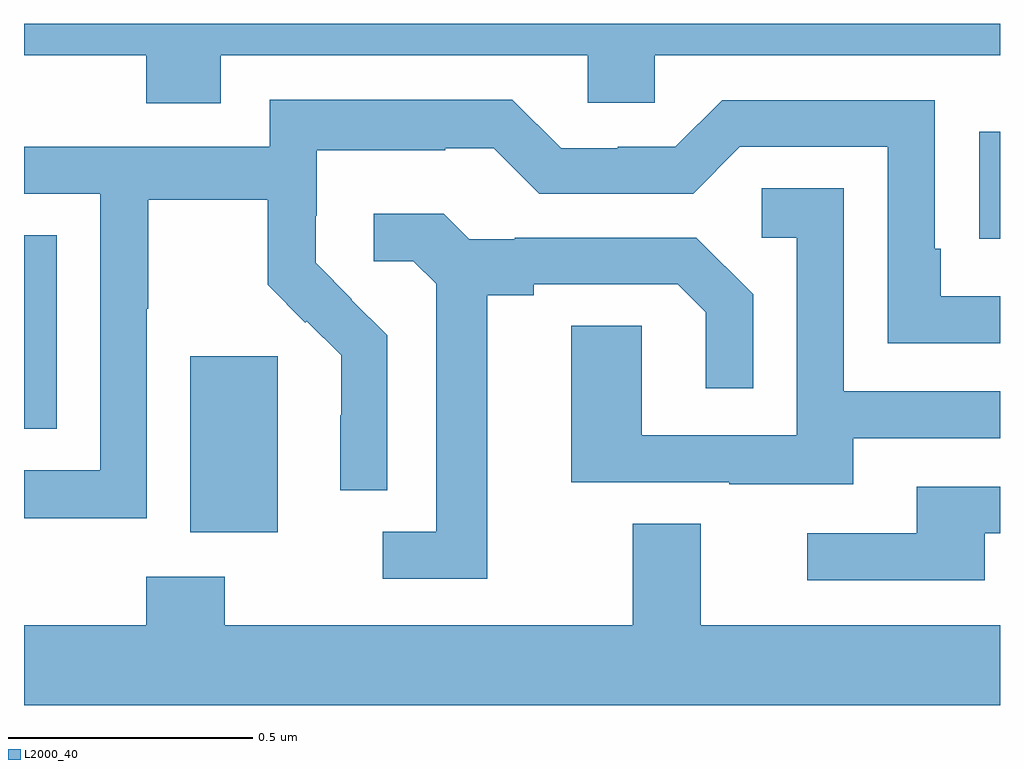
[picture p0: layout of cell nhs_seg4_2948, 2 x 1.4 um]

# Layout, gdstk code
import gdstk
lib = gdstk.Library(unit=1e-6, precision=1e-09)
def R(c, l, rs):  # rectangles x0, y0, x1, y1
    for r in rs: c.add(gdstk.rectangle(r[:2], r[2:], *l))
def P(c, l, *ps):  # polygons
    for p in ps: c.add(gdstk.Polygon(p, *l))
L2000_40 = (2000, 40)

nhs_seg4_2948 = lib.new_cell('nhs_seg4_2948')
R(nhs_seg4_2948, L2000_40, [(147.341,779.858,147.52,780.219), (147,780.07,147.067,780.467), (148.957,780.46,149,780.679)])
P(nhs_seg4_2948, L2000_40, [(147.403,780.836),(148.155,780.836),(148.155,780.738),(148.293,780.738),(148.293,780.836),(149,780.836),(149,780.9),(147,780.9),(147,780.836),(147.251,780.836),(147.251,780.737),(147.403,780.737)],
  [(147.252,780.316),(147.255,780.316),(147.255,780.54),(147.499,780.54),(147.499,780.365),(147.576,780.288),(147.579,780.291),(147.65,780.221),(147.65,780.098),(147.648,780.098),(147.648,779.944),(147.744,779.944),(147.744,780.262),(147.671,780.335),(147.672,780.336),(147.598,780.41),(147.598,780.507),(147.6,780.507),(147.6,780.641),(147.863,780.641),(147.863,780.645),(147.963,780.645),(148.056,780.552),(148.371,780.552),(148.467,780.648),(148.77,780.648),(148.77,780.246),(149,780.246),(149,780.342),(148.879,780.342),(148.879,780.439),(148.866,780.439),(148.866,780.744),(148.431,780.744),(148.335,780.648),(148.217,780.648),(148.217,780.645),(148.101,780.645),(148.001,780.745),(147.504,780.745),(147.504,780.648),(147,780.648),(147,780.552),(147.156,780.552),(147.156,779.985),(147,779.985),(147,779.887),(147.252,779.887)],
  [(148.699,780.051),(149,780.051),(149,780.147),(148.68,780.147),(148.68,780.563),(148.512,780.563),(148.512,780.462),(148.584,780.462),(148.584,780.057),(148.266,780.057),(148.266,780.281),(148.121,780.281),(148.121,779.961),(148.445,779.961),(148.445,779.957),(148.699,779.957)],
  [(147.949,780.344),(148.045,780.344),(148.045,780.366),(148.34,780.366),(148.397,780.309),(148.397,780.153),(148.494,780.153),(148.494,780.346),(148.378,780.462),(148.006,780.462),(148.006,780.459),(147.912,780.459),(147.86,780.511),(147.717,780.511),(147.717,780.414),(147.798,780.414),(147.845,780.367),(147.845,779.859),(147.735,779.859),(147.735,779.763),(147.949,779.763)],
  [(148.969,779.856),(149,779.856),(149,779.952),(148.829,779.952),(148.829,779.856),(148.605,779.856),(148.605,779.76),(148.969,779.76)],
  [(147.251,779.767),(147.251,779.668),(147,779.668),(147,779.504),(149,779.504),(149,779.668),(148.387,779.668),(148.387,779.876),(148.247,779.876),(148.247,779.668),(147.411,779.668),(147.411,779.767)])

lib.write_gds('nhs_seg4_2948.gds')
